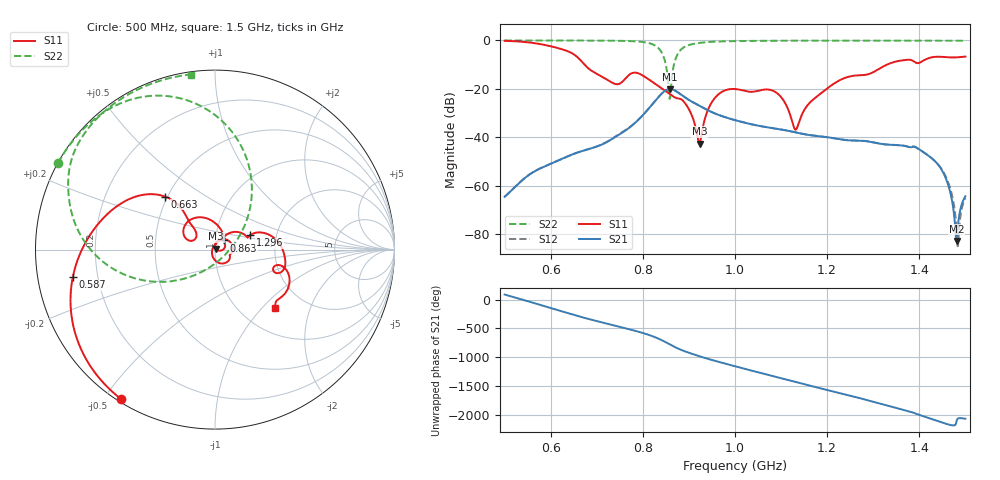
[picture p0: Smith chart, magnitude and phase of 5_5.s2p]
! TOUCHSTONE file generated by CST MICROWAVE STUDIO
! Date and time: Mon Oct 26 12:25:17 2020
! Project name: Scenario_1_Circular_Tissue_out_of_Line.cst
! Parameters = {dy1=-276.636; L_HA=400; MT=2.54; Rad_Dielectric=30; Rad_Lower=7.3; Rad_Upper=30; a_HA=580; a_WG=246; b_HA=500; b_WG=121; c_HA=0; c_WG=187; d_feed=85; dx1=866; h_feed=15; h_lower=18; h_upper=40}
! Header version: 2018
! Port assignment regex: !\s*Touchstone port\s*([0-9]+)\s*=\s*(CST MWS port|CST DS port)\s*([0-9]+|Zmin|Zmax)\s*\(\"(.*)\"\)(\s*mode\s*([0-9]+))?.*
! Touchstone port assignment:
! Touchstone port 1 = CST MWS port 1 ("")
! Touchstone port 2 = CST MWS port 2 ("")
# GHz S DB R 50
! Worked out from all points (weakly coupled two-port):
!   1001 points, 500 MHz to 1.5 GHz, reference 50 ohm
!   highest |S21| = -20.07 dB at 859 MHz (marker M1); lowest = -82.7 dB at 1.481 GHz (marker M2)
!   lowest |S11| = -42.5 dB at 923 MHz (marker M3), VSWR 1.02, Z = 50.6 + j0.488 ohm
!   |S11| at or under -10 dB: 673.5 MHz to 1.33 GHz (656.2 MHz wide, 65.5 % of centre)
!   |S22| runs from -24.1 to 0.0 dB; largest |S21 - S12| = 0.00032
!   S11 on the Smith chart (normalised r, x): 500 MHz: 0.01, -0.55; 587 MHz: 0.11, -0.10; 663 MHz: 0.48, +0.34; 863 MHz: 1.10, +0.11; 1.296 GHz: 1.46, +0.25; 1.5 GHz: 1.43, -1.18
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0.5  -0.15 -122.4  -64.51 86.6  -64.52 86.6  -0.01 151.1
0.587  -1.86 -169.0  -51.98 -117.6  -51.93 -118.1  -0.02 145.1
0.663  -7.82 133.3  -45.94 64.5  -45.93 65.1  -0.04 138.8
0.667  -8.64 131.1  -45.70 55.5  -45.69 56.1  -0.04 138.4
0.741  -18.01 146.3  -39.73 -94.5  -39.59 -93.5  -0.13 129.1
0.779  -13.34 140.8  -34.73 -173.3  -34.63 -173.5  -0.32 120.7
0.834  -18.85 72.4  -23.34 41.0  -23.34 41.0  -3.20 84.4
0.859  -22.26 48.0  -20.07 -60.9  -20.07 -60.9  -24.00 -66.3
0.863  -22.79 44.5  -20.16 -78.2  -20.16 -78.2  -15.15 -127.3
0.88  -24.02 27.7  -21.97 -143.2  -21.97 -143.2  -4.37 -171.7
0.923  -42.53 40.2  -26.98 95.2  -26.98 95.2  -1.02 156.9
0.953  -24.54 65.9  -29.86 24.0  -29.86 23.9  -0.53 148.5
1  -20.04 1.7  -32.88 -77.8  -32.88 -77.8  -0.27 140.3
1.088  -21.32 -64.3  -36.35 98.9  -36.36 98.9  -0.14 130.8
1.131  -36.82 165.9  -37.91 8.8  -37.90 8.7  -0.11 127.1
1.167  -24.83 62.7  -39.19 -63.0  -39.15 -63.0  -0.10 124.2
1.296  -13.47 22.4  -41.91 33.5  -41.91 33.5  -0.08 114.4
1.334  -9.65 12.4  -43.01 -44.6  -43.01 -44.6  -0.09 111.5
1.44  -6.72 -29.4  -51.06 52.6  -50.98 52.9  -0.11 103.1
1.466  -6.99 -38.5  -61.83 -14.5  -60.36 -14.6  -0.12 100.9
1.481  -6.98 -40.9  -82.72 53.4  -78.17 -25.1  -0.12 99.6
1.5  -6.65 -44.2  -64.28 92.1  -64.89 93.2  -0.13 97.9
